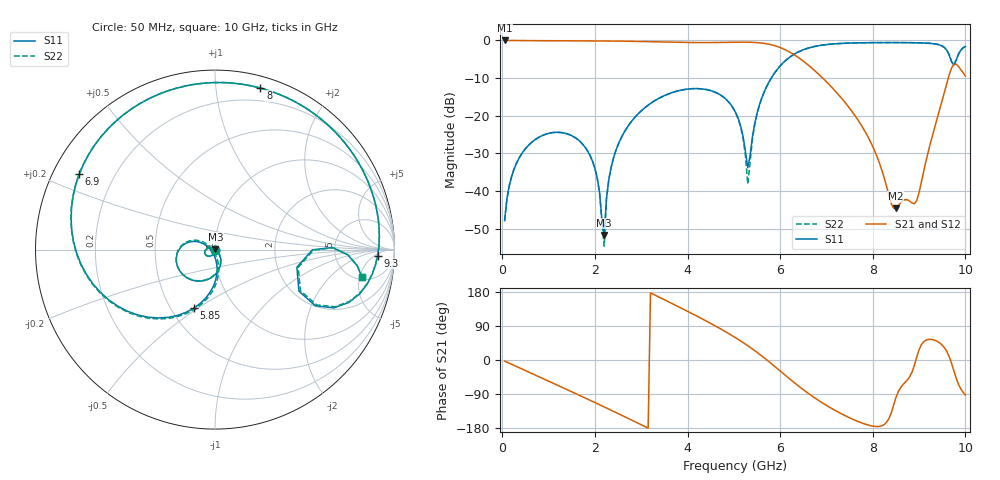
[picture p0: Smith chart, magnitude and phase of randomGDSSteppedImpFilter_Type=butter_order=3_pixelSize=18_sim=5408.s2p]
! freq	dB(S11)	phase(S11)	dB(S12)	phase(S12)
!  dB(S21)	phase(S21)	dB(S22)	phase(S22)
!S-par simulation data
#  GHz  S  DB  R 50
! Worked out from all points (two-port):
!   200 points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, 50 MHz to 10 GHz, reference 50 ohm
!   highest |S21| = -0.01 dB at 50 MHz (marker M1); lowest = -44.6 dB at 8.5 GHz (marker M2)
!   |S21| within 3 dB of the highest: start of sweep to 6.194 GHz
!   lowest |S11| = -51.7 dB at 2.2 GHz (marker M3), VSWR 1.01, Z = 50.2 + j0.0909 ohm
!   |S11| at or under -10 dB: start of sweep to 5.808 GHz
!   |S22| runs from -54.7 to -0.6 dB; largest |S21 - S12| = 0
!   S11 on the Smith chart (normalised r, x): 50 MHz: 1.00, -0.01; 5.85 GHz: 0.65, -0.48; 6.9 GHz: 0.08, +0.26; 8 GHz: 0.09, +1.32; 9.3 GHz: 18, -7; 10 GHz: 5.51, -5.41
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0.05  -47.87 -86.1  -0.01 -2.8  -0.01 -2.8  -47.87 -86.1
0.6  -27.45 -123.9  -0.05 -33.5  -0.05 -33.5  -27.45 -123.7
1.75  -27.77 169.9  -0.12 -98.0  -0.12 -98.0  -27.78 171.1
2.05  -36.53 149.3  -0.14 -115.1  -0.14 -115.1  -36.57 154.1
2.2  -51.70 20.4  -0.15 -123.8  -0.15 -123.8  -54.66 -39.6
2.3  -36.95 -34.3  -0.16 -129.6  -0.16 -129.6  -36.98 -40.7
2.45  -29.33 -46.3  -0.17 -138.3  -0.17 -138.3  -29.34 -49.3
3.4  -15.25 -104.4  -0.39 165.1  -0.39 165.1  -15.25 -105.5
4.3  -12.86 -159.0  -0.57 109.6  -0.57 109.6  -12.86 -160.4
5.05  -19.46 155.6  -0.47 57.8  -0.47 57.8  -19.52 151.6
5.3  -33.80 -155.4  -0.47 37.7  -0.47 37.7  -38.15 -164.3
5.5  -19.40 -83.5  -0.57 20.2  -0.57 20.2  -19.54 -78.7
5.85  -9.18 -110.0  -1.27 -13.5  -1.27 -13.5  -9.20 -108.3
6.7  -1.72 167.8  -7.52 -96.1  -7.52 -96.1  -1.73 168.4
6.9  -1.26 151.0  -9.78 -112.3  -9.78 -112.3  -1.26 151.5
8  -0.58 74.3  -28.20 -174.4  -28.20 -174.4  -0.58 74.6
8.35  -0.57 53.3  -41.21 -154.6  -41.21 -154.6  -0.56 53.6
8.5  -0.57 44.6  -44.62 -99.0  -44.62 -99.0  -0.57 44.9
8.95  -0.62 18.9  -42.51 8.0  -42.51 8.0  -0.62 19.3
9.3  -0.85 -2.1  -24.75 53.6  -24.75 53.6  -0.84 -1.7
9.7  -5.65 -26.3  -7.36 -8.1  -7.36 -8.1  -5.54 -25.7
10  -1.60 -10.5  -9.43 -92.4  -9.43 -92.4  -1.59 -10.4
